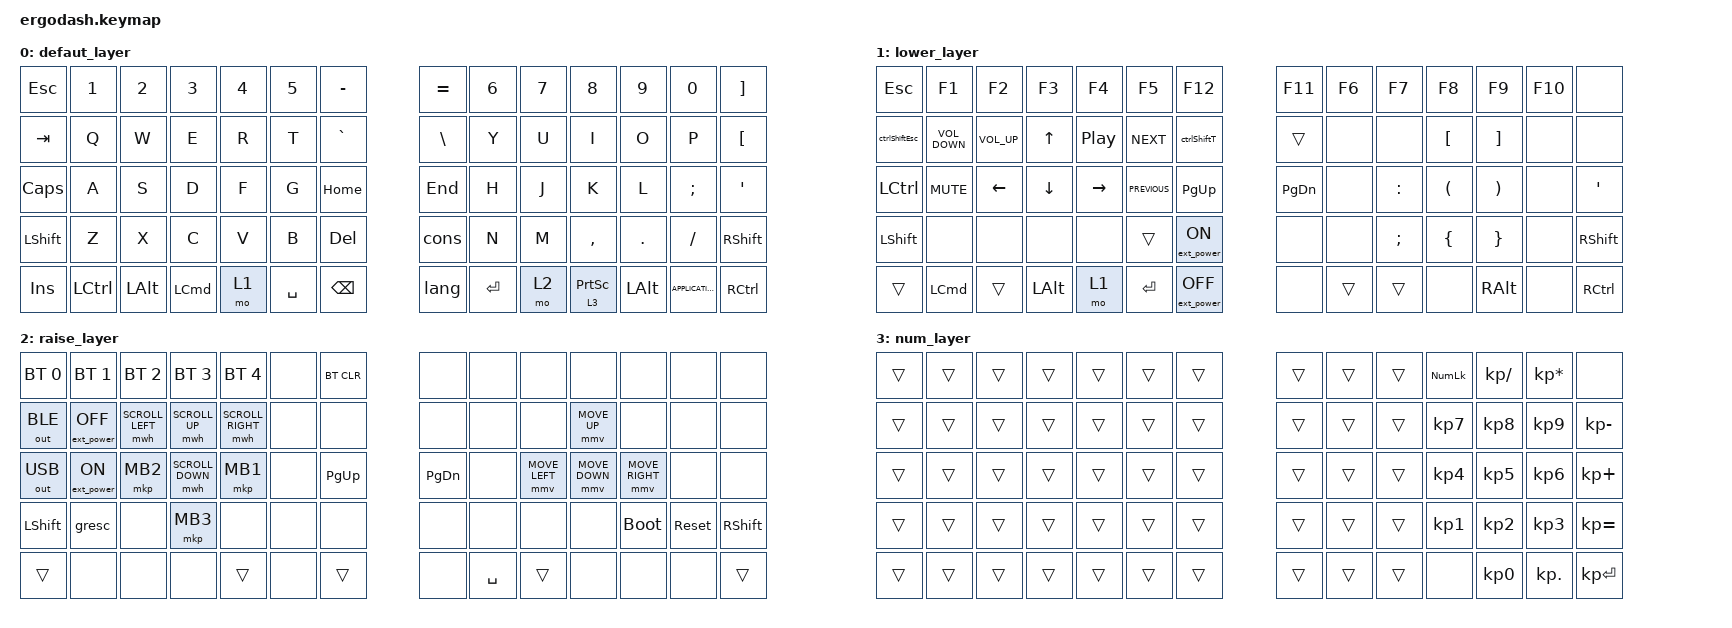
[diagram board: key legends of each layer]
#include <behaviors.dtsi>

#define DEFAULT 0
#define LOWER   1
#define RAISE   2
#define NUM     3
#define GAYMING 4

#include "mouse.dtsi"
#include <dt-bindings/zmk/bt.h>
#include <dt-bindings/zmk/ext_power.h>
#include <dt-bindings/zmk/keys.h>
#include <dt-bindings/zmk/outputs.h>

&lt {
    quick_tap_ms = <200>;
};

&mt {
    quick_tap_ms = <200>;
};

/ {
    combos {
        compatible = "zmk,combos";

        space_main {
            bindings = <&kp SPACE>;
            key-positions = <29 30 31 32>;
        };
    };

    macros {
        cons: cons {
            compatible = "zmk,behavior-macro";
            label = "cons";
            #binding-cells = <0>;
            bindings =
                <&macro_press>,
                <&kp LCTRL &kp SPACE>,
                <&macro_release>,
                <&kp SPACE &kp LCTRL>;
        };

        ctrlShiftT: ctrlShiftT {
            compatible = "zmk,behavior-macro";
            label = "ctrlShiftT";
            #binding-cells = <0>;
            bindings =
                <&macro_press>,
                <&kp LCTRL &kp LEFT_SHIFT &kp T>,
                <&macro_release>,
                <&kp LCTRL &kp LEFT_SHIFT &kp T>;
        };

        ctrlShiftEsc: ctrlShiftEsc {
            compatible = "zmk,behavior-macro";
            label = "ctrlShiftEsc";
            #binding-cells = <0>;
            bindings =
                <&macro_press>,
                <&kp LCTRL &kp LEFT_SHIFT &kp ESC>,
                <&macro_release>,
                <&kp LCTRL &kp LEFT_SHIFT &kp ESC>;
        };

        lang: lang {
            compatible = "zmk,behavior-macro";
            label = "lang";
            #binding-cells = <0>;
            bindings =
                <&macro_press>,
                <&kp LEFT_ALT &kp LEFT_SHIFT>,
                <&macro_release>,
                <&kp LALT &kp LEFT_SHIFT>;
        };
    };

    keymap {
        compatible = "zmk,keymap";

        defaut_layer {
            /* QWERTY
 * .----------------------------------------------------------------------------------------------------------------------.
 * |  `   |   1  |   2  |   3  |   4  |   5  |  [   |                    |  ]   |   6  |   7  |   8  |   9  |   0  | PScr |
 * |------+------+------+------+------+------+------+--------------------+------+------+------+------+------+------+------|
 * | ESC  |   Q  |   W  |   E  |   R  |   T  |  -   |                    |  =   |   Y  |   U  |   I  |   O  |   P  |  \   |
 * |------+------+------+------+------+------+------+--------------------+------+------+------+------+------+------+------|
 * | Tab  |   A  |   S  |   D  |   F  |   G  | Del  |                    | Bksp |   H  |   J  |   K  |   L  |   ;  |  '   |
 * |------+------+------+------+------+------+---------------------------+------+------+------+------+------+------+------|
 * | Shift|   Z  |   X  |   C  |   V  |   B  | End  |                    | Home |   N  |   M  |   ,  |   .  |   /  | Shift|
 * |-------------+------+------+------+------+------+------+------+------+------+------+------+------+------+-------------|
 * | Ctrl |      | PGDN | Win  |||||||| Alt  | Space| Lower|||||||| Raise| Enter| RAlt ||||||||      | PGUP | Ins  | RCtrl|
 * .----------------------------------------------------------------------------------------------------------------------.
 */

            bindings = <
&kp ESC       &kp N1            &kp N2        &kp N3            &kp N4  &kp N5  &kp MINUS                        &kp EQUAL      &kp N6  &kp N7  &kp N8             &kp N9    &kp N0             &kp RIGHT_BRACKET
&kp TAB       &kp Q             &kp W         &kp E             &kp R   &kp T   &kp GRAVE                        &kp BACKSLASH  &kp Y   &kp U   &kp I              &kp O     &kp P              &kp LEFT_BRACKET
&kp CAPSLOCK  &kp A             &kp S         &kp D             &kp F   &kp G   &kp HOME                         &kp END        &kp H   &kp J   &kp K              &kp L     &kp SEMICOLON      &kp SQT
&kp LSHFT     &kp Z             &kp X         &kp C             &kp V   &kp B              &kp DEL        &cons                 &kp N   &kp M   &kp COMMA          &kp DOT   &kp SLASH          &kp RSHFT
&kp INS       &kp LEFT_CONTROL  &kp LEFT_ALT  &kp LEFT_COMMAND  &mo 1           &kp SPACE  &kp BACKSPACE  &lang  &kp ENTER              &mo 2   &lt 3 PRINTSCREEN  &kp LALT  &kp K_APPLICATION  &kp RCTRL
            >;
        };

        lower_layer {
            /* .----------------------------------------------------------------------------------------------------------------------.
 * |  F11 |  F1  |  F2  |  F3  |  F4  |  F5  |      |                    |      |  F6  |  F7  |  F8  |  F9  |  F10 |  F12 |
 * |------+------+------+------+------+------+------+--------------------+------+------+------+------+------+------+------|
 * |      |      |      |      |      |      |      |                    |      |      |      |      |      |      |      |
 * |------+------+------+------+------+------+------+--------------------+------+------+------+------+------+------+------|
 * |      |      |      |      |      |      |      |                    |      |      |      |      |      |      |      |
 * |------+------+------+------+------+------+---------------------------+------+------+------+------+------+------+------|
 * | Shift| Boot | Reset|      |      |      |      |                    |      |      |      |      |      |      | Shift|
 * |-------------+------+------+------+------+------+------+------+------+------+------+------+------+------+-------------|
 * | Ctlr |      |      |  Win |||||||| Alt  |      | Lower|||||||| Raise|      | RAlt ||||||||      |      |      | RCtrl|
 * .----------------------------------------------------------------------------------------------------------------------.
 *//* FIXME boot and reset are not yet locale aware */
            bindings = <
&kp ESC         &kp F1             &kp F2           &kp F3          &kp F4            &kp F5          &kp F12                                &kp F11        &kp F6  &kp F7         &kp F8                &kp F9                 &kp F10  &none
&ctrlShiftEsc   &kp C_VOLUME_DOWN  &kp C_VOLUME_UP  &kp UP_ARROW    &kp C_PLAY_PAUSE  &kp C_NEXT      &ctrlShiftT                            &trans         &none   &none          &kp LEFT_BRACKET      &kp RIGHT_BRACKET      &none    &none
&kp LCTRL       &kp C_MUTE         &kp LEFT_ARROW   &kp DOWN_ARROW  &kp RIGHT_ARROW   &kp C_PREVIOUS  &kp PAGE_UP                            &kp PAGE_DOWN  &none   &kp COLON      &kp LEFT_PARENTHESIS  &kp RIGHT_PARENTHESIS  &none    &kp APOSTROPHE
&kp LEFT_SHIFT  &none              &none            &none           &none             &trans                       &ext_power EP_ON   &none                 &none   &kp SEMICOLON  &kp LEFT_BRACE        &kp RIGHT_BRACE        &none    &kp RIGHT_SHIFT
&trans          &kp LEFT_COMMAND   &trans           &kp LEFT_ALT    &mo 1                             &kp ENTER    &ext_power EP_OFF  &none  &trans                 &trans         &none                 &kp RIGHT_ALT          &none    &kp RCTRL
            >;
        };

        raise_layer {
            /* .----------------------------------------------------------------------------------------------------------------------.
 * |      | BT 0 | BT 1 | BT 2 | BT 3 |      | BTCL |                    |      |      |      |      |      |      |      |
 * |------+------+------+------+------+------+------+--------------------+------+------+------+------+------+------+------|
 * |      |      |      |      |      |      |      |                    |      |      |      |      |      |      |      |
 * |------+------+------+------+------+------+------+--------------------+------+------+------+------+------+------+------|
 * |      |      |      |      |      |      |      |                    |      |      |      |      |      |      |      |
 * |------+------+------+------+------+------+---------------------------+------+------+------+------+------+------+------|
 * | Shift|      |      |      |      |      |      |                    |      |      |      |      | Boot | Reset| Shift|
 * |-------------+------+------+------+------+------+------+------+------+------+------+------+------+------+-------------|
 * | Ctlr |      |      |  Win |||||||| Alt  |      | Lower|||||||| Raise|      | RAlt ||||||||      |      |      | RCtrl|
 * .----------------------------------------------------------------------------------------------------------------------.
 *//* FIXME boot and reset are not yet locale aware */
            bindings = <
&bt BT_SEL 0    &bt BT_SEL 1       &bt BT_SEL 2      &bt BT_SEL 3      &bt BT_SEL 4       &none  &bt BT_CLR                  &none          &none  &none           &none           &none            &none       &none
&out OUT_BLE    &ext_power EP_OFF  &mwh SCROLL_LEFT  &mwh SCROLL_UP    &mwh SCROLL_RIGHT  &none  &none                       &none          &none  &none           &mmv MOVE_UP    &none            &none       &none
&out OUT_USB    &ext_power EP_ON   &mkp MB2          &mwh SCROLL_DOWN  &mkp MB1           &none  &kp PAGE_UP                 &kp PAGE_DOWN  &none  &mmv MOVE_LEFT  &mmv MOVE_DOWN  &mmv MOVE_RIGHT  &none       &none
&kp LEFT_SHIFT  &gresc             &none             &mkp MB3          &none              &none               &none   &none                 &none  &none           &none           &bootloader      &sys_reset  &kp RIGHT_SHIFT
&trans          &none              &none             &none             &trans                    &none        &trans  &none  &kp SPACE             &trans          &none           &none            &none       &trans
            >;
        };

        num_layer {
            bindings = <
&trans  &trans  &trans  &trans  &trans  &trans  &trans                  &trans  &trans  &trans  &kp KP_NLCK  &kp KP_DIVIDE  &kp KP_MULTIPLY  &none
&trans  &trans  &trans  &trans  &trans  &trans  &trans                  &trans  &trans  &trans  &kp KP_N7    &kp KP_N8      &kp KP_N9        &kp KP_MINUS
&trans  &trans  &trans  &trans  &trans  &trans  &trans                  &trans  &trans  &trans  &kp KP_N4    &kp KP_N5      &kp KP_N6        &kp KP_PLUS
&trans  &trans  &trans  &trans  &trans  &trans          &trans  &trans          &trans  &trans  &kp KP_N1    &kp KP_N2      &kp KP_N3        &kp KP_EQUAL
&trans  &trans  &trans  &trans  &trans          &trans  &trans  &trans  &trans          &trans  &none        &kp KP_N0      &kp KP_DOT       &kp KP_ENTER
            >;
        };
    };
};
